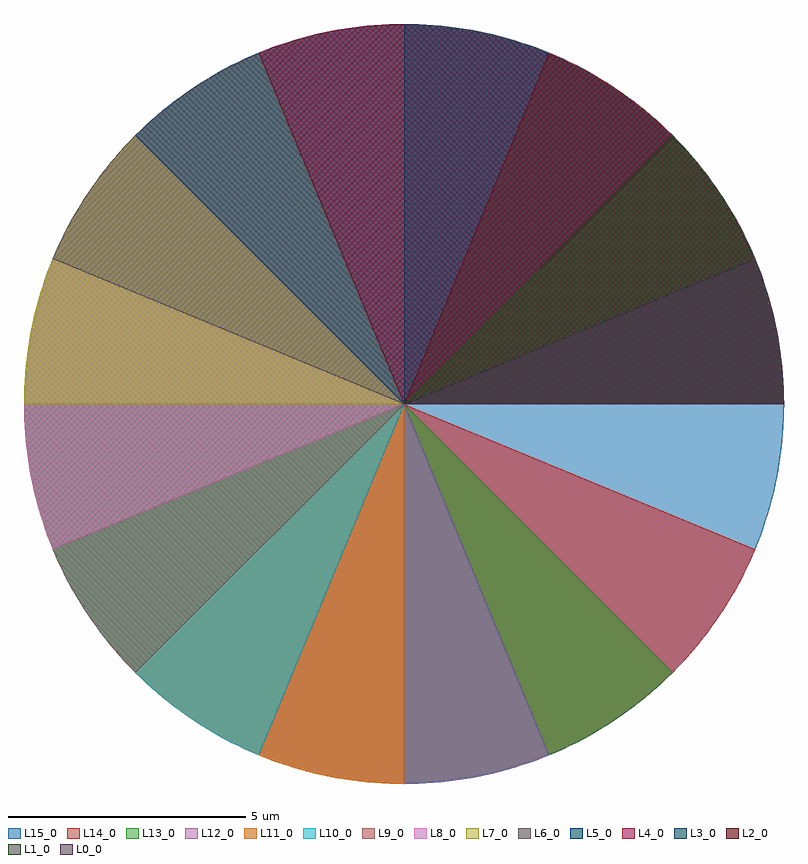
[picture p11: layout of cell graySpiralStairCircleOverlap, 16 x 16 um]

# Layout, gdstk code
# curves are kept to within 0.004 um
import gdstk
lib = gdstk.Library(unit=1e-6, precision=1e-09)
def P(c, l, *ps):  # polygons
    for p in ps: c.add(gdstk.Polygon(p, *l))
L0_0 = (0, 0)
L1_0 = (1, 0)
L2_0 = (2, 0)
L3_0 = (3, 0)
L4_0 = (4, 0)
L5_0 = (5, 0)
L6_0 = (6, 0)
L7_0 = (7, 0)
L8_0 = (8, 0)
L9_0 = (9, 0)
L10_0 = (10, 0)
L11_0 = (11, 0)
L12_0 = (12, 0)
L13_0 = (13, 0)
L14_0 = (14, 0)
L15_0 = (15, 0)

grayspiralstaircircleove = lib.new_cell('graySpiralStairCircleOverlap')
P(grayspiralstaircircleove, L0_0, [(0,0),(7.391,3.061),(7.558,2.621),(7.7,2.172),(7.779,1.868),(7.846,1.561),(7.925,1.096),(7.961,0.784),(7.986,0.471),(8,0)])
P(grayspiralstaircircleove, L1_0, [(0,0),(7.391,3.061),(7.558,2.621),(7.7,2.172),(7.779,1.868),(7.846,1.561),(7.925,1.096),(7.961,0.784),(7.986,0.471),(8,0)],
  [(0,0),(5.657,5.657),(5.98,5.314),(6.283,4.953),(6.472,4.702),(6.652,4.445),(6.902,4.045),(7.128,3.632),(7.265,3.349),(7.391,3.061)])
P(grayspiralstaircircleove, L2_0, [(0,0),(7.391,3.061),(7.558,2.621),(7.7,2.172),(7.779,1.868),(7.846,1.561),(7.925,1.096),(7.961,0.784),(7.986,0.471),(8,0)],
  [(0,0),(5.657,5.657),(5.98,5.314),(6.283,4.953),(6.472,4.702),(6.652,4.445),(6.902,4.045),(7.128,3.632),(7.265,3.349),(7.391,3.061)],
  [(0,0),(3.061,7.391),(3.349,7.265),(3.632,7.128),(4.045,6.902),(4.445,6.652),(4.702,6.472),(4.953,6.283),(5.314,5.98),(5.657,5.657)])
P(grayspiralstaircircleove, L3_0, [(0,0),(7.391,3.061),(7.558,2.621),(7.7,2.172),(7.779,1.868),(7.846,1.561),(7.925,1.096),(7.961,0.784),(7.986,0.471),(8,0)],
  [(0,0),(5.657,5.657),(5.98,5.314),(6.283,4.953),(6.472,4.702),(6.652,4.445),(6.902,4.045),(7.128,3.632),(7.265,3.349),(7.391,3.061)],
  [(0,0),(3.061,7.391),(3.349,7.265),(3.632,7.128),(4.045,6.902),(4.445,6.652),(4.702,6.472),(4.953,6.283),(5.314,5.98),(5.657,5.657)],
  [(0,0),(0,8),(0.471,7.986),(0.784,7.961),(1.096,7.925),(1.561,7.846),(1.868,7.779),(2.172,7.7),(2.621,7.558),(3.061,7.391)])
P(grayspiralstaircircleove, L4_0, [(0,0),(7.391,3.061),(7.558,2.621),(7.7,2.172),(7.779,1.868),(7.846,1.561),(7.925,1.096),(7.961,0.784),(7.986,0.471),(8,0)],
  [(0,0),(5.657,5.657),(5.98,5.314),(6.283,4.953),(6.472,4.702),(6.652,4.445),(6.902,4.045),(7.128,3.632),(7.265,3.349),(7.391,3.061)],
  [(0,0),(3.061,7.391),(3.349,7.265),(3.632,7.128),(4.045,6.902),(4.445,6.652),(4.702,6.472),(4.953,6.283),(5.314,5.98),(5.657,5.657)],
  [(0,0),(0,8),(0.471,7.986),(0.784,7.961),(1.096,7.925),(1.561,7.846),(1.868,7.779),(2.172,7.7),(2.621,7.558),(3.061,7.391)],
  [(0,0),(-3.061,7.391),(-2.621,7.558),(-2.172,7.7),(-1.868,7.779),(-1.561,7.846),(-1.096,7.925),(-0.784,7.961),(-0.471,7.986),(0,8)])
P(grayspiralstaircircleove, L5_0, [(0,0),(7.391,3.061),(7.558,2.621),(7.7,2.172),(7.779,1.868),(7.846,1.561),(7.925,1.096),(7.961,0.784),(7.986,0.471),(8,0)],
  [(0,0),(5.657,5.657),(5.98,5.314),(6.283,4.953),(6.472,4.702),(6.652,4.445),(6.902,4.045),(7.128,3.632),(7.265,3.349),(7.391,3.061)],
  [(0,0),(3.061,7.391),(3.349,7.265),(3.632,7.128),(4.045,6.902),(4.445,6.652),(4.702,6.472),(4.953,6.283),(5.314,5.98),(5.657,5.657)],
  [(0,0),(0,8),(0.471,7.986),(0.784,7.961),(1.096,7.925),(1.561,7.846),(1.868,7.779),(2.172,7.7),(2.621,7.558),(3.061,7.391)],
  [(0,0),(-3.061,7.391),(-2.621,7.558),(-2.172,7.7),(-1.868,7.779),(-1.561,7.846),(-1.096,7.925),(-0.784,7.961),(-0.471,7.986),(0,8)],
  [(0,0),(-5.657,5.657),(-5.314,5.98),(-4.953,6.283),(-4.702,6.472),(-4.445,6.652),(-4.045,6.902),(-3.632,7.128),(-3.349,7.265),(-3.061,7.391)])
P(grayspiralstaircircleove, L6_0, [(0,0),(7.391,3.061),(7.558,2.621),(7.7,2.172),(7.779,1.868),(7.846,1.561),(7.925,1.096),(7.961,0.784),(7.986,0.471),(8,0)],
  [(0,0),(5.657,5.657),(5.98,5.314),(6.283,4.953),(6.472,4.702),(6.652,4.445),(6.902,4.045),(7.128,3.632),(7.265,3.349),(7.391,3.061)],
  [(0,0),(3.061,7.391),(3.349,7.265),(3.632,7.128),(4.045,6.902),(4.445,6.652),(4.702,6.472),(4.953,6.283),(5.314,5.98),(5.657,5.657)],
  [(0,0),(0,8),(0.471,7.986),(0.784,7.961),(1.096,7.925),(1.561,7.846),(1.868,7.779),(2.172,7.7),(2.621,7.558),(3.061,7.391)],
  [(0,0),(-3.061,7.391),(-2.621,7.558),(-2.172,7.7),(-1.868,7.779),(-1.561,7.846),(-1.096,7.925),(-0.784,7.961),(-0.471,7.986),(0,8)],
  [(0,0),(-5.657,5.657),(-5.314,5.98),(-4.953,6.283),(-4.702,6.472),(-4.445,6.652),(-4.045,6.902),(-3.632,7.128),(-3.349,7.265),(-3.061,7.391)],
  [(0,0),(-7.391,3.061),(-7.265,3.349),(-7.128,3.632),(-6.902,4.045),(-6.652,4.445),(-6.472,4.702),(-6.283,4.953),(-5.98,5.314),(-5.657,5.657)])
P(grayspiralstaircircleove, L7_0, [(0,0),(7.391,3.061),(7.558,2.621),(7.7,2.172),(7.779,1.868),(7.846,1.561),(7.925,1.096),(7.961,0.784),(7.986,0.471),(8,0)],
  [(0,0),(5.657,5.657),(5.98,5.314),(6.283,4.953),(6.472,4.702),(6.652,4.445),(6.902,4.045),(7.128,3.632),(7.265,3.349),(7.391,3.061)],
  [(0,0),(3.061,7.391),(3.349,7.265),(3.632,7.128),(4.045,6.902),(4.445,6.652),(4.702,6.472),(4.953,6.283),(5.314,5.98),(5.657,5.657)],
  [(0,0),(0,8),(0.471,7.986),(0.784,7.961),(1.096,7.925),(1.561,7.846),(1.868,7.779),(2.172,7.7),(2.621,7.558),(3.061,7.391)],
  [(0,0),(-3.061,7.391),(-2.621,7.558),(-2.172,7.7),(-1.868,7.779),(-1.561,7.846),(-1.096,7.925),(-0.784,7.961),(-0.471,7.986),(0,8)],
  [(0,0),(-5.657,5.657),(-5.314,5.98),(-4.953,6.283),(-4.702,6.472),(-4.445,6.652),(-4.045,6.902),(-3.632,7.128),(-3.349,7.265),(-3.061,7.391)],
  [(0,0),(-7.391,3.061),(-7.265,3.349),(-7.128,3.632),(-6.902,4.045),(-6.652,4.445),(-6.472,4.702),(-6.283,4.953),(-5.98,5.314),(-5.657,5.657)],
  [(0,0),(-8,0),(-7.986,0.471),(-7.961,0.784),(-7.925,1.096),(-7.846,1.561),(-7.779,1.868),(-7.7,2.172),(-7.558,2.621),(-7.391,3.061)])
P(grayspiralstaircircleove, L8_0, [(0,0),(7.391,3.061),(7.558,2.621),(7.7,2.172),(7.779,1.868),(7.846,1.561),(7.925,1.096),(7.961,0.784),(7.986,0.471),(8,0)],
  [(0,0),(5.657,5.657),(5.98,5.314),(6.283,4.953),(6.472,4.702),(6.652,4.445),(6.902,4.045),(7.128,3.632),(7.265,3.349),(7.391,3.061)],
  [(0,0),(3.061,7.391),(3.349,7.265),(3.632,7.128),(4.045,6.902),(4.445,6.652),(4.702,6.472),(4.953,6.283),(5.314,5.98),(5.657,5.657)],
  [(0,0),(0,8),(0.471,7.986),(0.784,7.961),(1.096,7.925),(1.561,7.846),(1.868,7.779),(2.172,7.7),(2.621,7.558),(3.061,7.391)],
  [(0,0),(-3.061,7.391),(-2.621,7.558),(-2.172,7.7),(-1.868,7.779),(-1.561,7.846),(-1.096,7.925),(-0.784,7.961),(-0.471,7.986),(0,8)],
  [(0,0),(-5.657,5.657),(-5.314,5.98),(-4.953,6.283),(-4.702,6.472),(-4.445,6.652),(-4.045,6.902),(-3.632,7.128),(-3.349,7.265),(-3.061,7.391)],
  [(0,0),(-7.391,3.061),(-7.265,3.349),(-7.128,3.632),(-6.902,4.045),(-6.652,4.445),(-6.472,4.702),(-6.283,4.953),(-5.98,5.314),(-5.657,5.657)],
  [(0,0),(-8,0),(-7.986,0.471),(-7.961,0.784),(-7.925,1.096),(-7.846,1.561),(-7.779,1.868),(-7.7,2.172),(-7.558,2.621),(-7.391,3.061)],
  [(-7.391,-3.061),(-7.506,-2.769),(-7.656,-2.322),(-7.779,-1.868),(-7.846,-1.561),(-7.925,-1.096),(-7.961,-0.784),(-7.994,-0.314),(-8,0),(0,0)])
P(grayspiralstaircircleove, L9_0, [(0,0),(7.391,3.061),(7.558,2.621),(7.7,2.172),(7.779,1.868),(7.846,1.561),(7.925,1.096),(7.961,0.784),(7.986,0.471),(8,0)],
  [(0,0),(5.657,5.657),(5.98,5.314),(6.283,4.953),(6.472,4.702),(6.652,4.445),(6.902,4.045),(7.128,3.632),(7.265,3.349),(7.391,3.061)],
  [(0,0),(3.061,7.391),(3.349,7.265),(3.632,7.128),(4.045,6.902),(4.445,6.652),(4.702,6.472),(4.953,6.283),(5.314,5.98),(5.657,5.657)],
  [(0,0),(0,8),(0.471,7.986),(0.784,7.961),(1.096,7.925),(1.561,7.846),(1.868,7.779),(2.172,7.7),(2.621,7.558),(3.061,7.391)],
  [(0,0),(-3.061,7.391),(-2.621,7.558),(-2.172,7.7),(-1.868,7.779),(-1.561,7.846),(-1.096,7.925),(-0.784,7.961),(-0.471,7.986),(0,8)],
  [(0,0),(-5.657,5.657),(-5.314,5.98),(-4.953,6.283),(-4.702,6.472),(-4.445,6.652),(-4.045,6.902),(-3.632,7.128),(-3.349,7.265),(-3.061,7.391)],
  [(0,0),(-7.391,3.061),(-7.265,3.349),(-7.128,3.632),(-6.902,4.045),(-6.652,4.445),(-6.472,4.702),(-6.283,4.953),(-5.98,5.314),(-5.657,5.657)],
  [(0,0),(-8,0),(-7.986,0.471),(-7.961,0.784),(-7.925,1.096),(-7.846,1.561),(-7.779,1.868),(-7.7,2.172),(-7.558,2.621),(-7.391,3.061)],
  [(-7.391,-3.061),(-7.506,-2.769),(-7.656,-2.322),(-7.779,-1.868),(-7.846,-1.561),(-7.925,-1.096),(-7.961,-0.784),(-7.994,-0.314),(-8,0),(0,0)],
  [(-5.657,-5.657),(-5.875,-5.43),(-6.184,-5.075),(-6.379,-4.828),(-6.652,-4.445),(-6.902,-4.045),(-7.055,-3.771),(-7.198,-3.491),(-7.391,-3.061),(0,0)])
P(grayspiralstaircircleove, L10_0, [(0,0),(7.391,3.061),(7.558,2.621),(7.7,2.172),(7.779,1.868),(7.846,1.561),(7.925,1.096),(7.961,0.784),(7.986,0.471),(8,0)],
  [(0,0),(5.657,5.657),(5.98,5.314),(6.283,4.953),(6.472,4.702),(6.652,4.445),(6.902,4.045),(7.128,3.632),(7.265,3.349),(7.391,3.061)],
  [(0,0),(3.061,7.391),(3.349,7.265),(3.632,7.128),(4.045,6.902),(4.445,6.652),(4.702,6.472),(4.953,6.283),(5.314,5.98),(5.657,5.657)],
  [(0,0),(0,8),(0.471,7.986),(0.784,7.961),(1.096,7.925),(1.561,7.846),(1.868,7.779),(2.172,7.7),(2.621,7.558),(3.061,7.391)],
  [(0,0),(-3.061,7.391),(-2.621,7.558),(-2.172,7.7),(-1.868,7.779),(-1.561,7.846),(-1.096,7.925),(-0.784,7.961),(-0.471,7.986),(0,8)],
  [(0,0),(-5.657,5.657),(-5.314,5.98),(-4.953,6.283),(-4.702,6.472),(-4.445,6.652),(-4.045,6.902),(-3.632,7.128),(-3.349,7.265),(-3.061,7.391)],
  [(0,0),(-7.391,3.061),(-7.265,3.349),(-7.128,3.632),(-6.902,4.045),(-6.652,4.445),(-6.472,4.702),(-6.283,4.953),(-5.98,5.314),(-5.657,5.657)],
  [(0,0),(-8,0),(-7.986,0.471),(-7.961,0.784),(-7.925,1.096),(-7.846,1.561),(-7.779,1.868),(-7.7,2.172),(-7.558,2.621),(-7.391,3.061)],
  [(-7.391,-3.061),(-7.506,-2.769),(-7.656,-2.322),(-7.779,-1.868),(-7.846,-1.561),(-7.925,-1.096),(-7.961,-0.784),(-7.994,-0.314),(-8,0),(0,0)],
  [(-5.657,-5.657),(-5.875,-5.43),(-6.184,-5.075),(-6.379,-4.828),(-6.652,-4.445),(-6.902,-4.045),(-7.055,-3.771),(-7.198,-3.491),(-7.391,-3.061),(0,0)],
  [(-3.061,-7.391),(-3.491,-7.198),(-3.771,-7.055),(-4.045,-6.902),(-4.445,-6.652),(-4.828,-6.379),(-5.075,-6.184),(-5.43,-5.875),(-5.657,-5.657),(0,0)])
P(grayspiralstaircircleove, L11_0, [(0,0),(7.391,3.061),(7.558,2.621),(7.7,2.172),(7.779,1.868),(7.846,1.561),(7.925,1.096),(7.961,0.784),(7.986,0.471),(8,0)],
  [(0,0),(5.657,5.657),(5.98,5.314),(6.283,4.953),(6.472,4.702),(6.652,4.445),(6.902,4.045),(7.128,3.632),(7.265,3.349),(7.391,3.061)],
  [(0,0),(3.061,7.391),(3.349,7.265),(3.632,7.128),(4.045,6.902),(4.445,6.652),(4.702,6.472),(4.953,6.283),(5.314,5.98),(5.657,5.657)],
  [(0,0),(0,8),(0.471,7.986),(0.784,7.961),(1.096,7.925),(1.561,7.846),(1.868,7.779),(2.172,7.7),(2.621,7.558),(3.061,7.391)],
  [(0,0),(-3.061,7.391),(-2.621,7.558),(-2.172,7.7),(-1.868,7.779),(-1.561,7.846),(-1.096,7.925),(-0.784,7.961),(-0.471,7.986),(0,8)],
  [(0,0),(-5.657,5.657),(-5.314,5.98),(-4.953,6.283),(-4.702,6.472),(-4.445,6.652),(-4.045,6.902),(-3.632,7.128),(-3.349,7.265),(-3.061,7.391)],
  [(0,0),(-7.391,3.061),(-7.265,3.349),(-7.128,3.632),(-6.902,4.045),(-6.652,4.445),(-6.472,4.702),(-6.283,4.953),(-5.98,5.314),(-5.657,5.657)],
  [(0,0),(-8,0),(-7.986,0.471),(-7.961,0.784),(-7.925,1.096),(-7.846,1.561),(-7.779,1.868),(-7.7,2.172),(-7.558,2.621),(-7.391,3.061)],
  [(-7.391,-3.061),(-7.506,-2.769),(-7.656,-2.322),(-7.779,-1.868),(-7.846,-1.561),(-7.925,-1.096),(-7.961,-0.784),(-7.994,-0.314),(-8,0),(0,0)],
  [(-5.657,-5.657),(-5.875,-5.43),(-6.184,-5.075),(-6.379,-4.828),(-6.652,-4.445),(-6.902,-4.045),(-7.055,-3.771),(-7.198,-3.491),(-7.391,-3.061),(0,0)],
  [(-3.061,-7.391),(-3.491,-7.198),(-3.771,-7.055),(-4.045,-6.902),(-4.445,-6.652),(-4.828,-6.379),(-5.075,-6.184),(-5.43,-5.875),(-5.657,-5.657),(0,0)],
  [(0,-8),(-0.314,-7.994),(-0.784,-7.961),(-1.096,-7.925),(-1.561,-7.846),(-1.868,-7.779),(-2.322,-7.656),(-2.769,-7.506),(-3.061,-7.391),(0,0)])
P(grayspiralstaircircleove, L12_0, [(0,0),(7.391,3.061),(7.558,2.621),(7.7,2.172),(7.779,1.868),(7.846,1.561),(7.925,1.096),(7.961,0.784),(7.986,0.471),(8,0)],
  [(0,0),(5.657,5.657),(5.98,5.314),(6.283,4.953),(6.472,4.702),(6.652,4.445),(6.902,4.045),(7.128,3.632),(7.265,3.349),(7.391,3.061)],
  [(0,0),(3.061,7.391),(3.349,7.265),(3.632,7.128),(4.045,6.902),(4.445,6.652),(4.702,6.472),(4.953,6.283),(5.314,5.98),(5.657,5.657)],
  [(0,0),(0,8),(0.471,7.986),(0.784,7.961),(1.096,7.925),(1.561,7.846),(1.868,7.779),(2.172,7.7),(2.621,7.558),(3.061,7.391)],
  [(0,0),(-3.061,7.391),(-2.621,7.558),(-2.172,7.7),(-1.868,7.779),(-1.561,7.846),(-1.096,7.925),(-0.784,7.961),(-0.471,7.986),(0,8)],
  [(0,0),(-5.657,5.657),(-5.314,5.98),(-4.953,6.283),(-4.702,6.472),(-4.445,6.652),(-4.045,6.902),(-3.632,7.128),(-3.349,7.265),(-3.061,7.391)],
  [(0,0),(-7.391,3.061),(-7.265,3.349),(-7.128,3.632),(-6.902,4.045),(-6.652,4.445),(-6.472,4.702),(-6.283,4.953),(-5.98,5.314),(-5.657,5.657)],
  [(0,0),(-8,0),(-7.986,0.471),(-7.961,0.784),(-7.925,1.096),(-7.846,1.561),(-7.779,1.868),(-7.7,2.172),(-7.558,2.621),(-7.391,3.061)],
  [(-7.391,-3.061),(-7.506,-2.769),(-7.656,-2.322),(-7.779,-1.868),(-7.846,-1.561),(-7.925,-1.096),(-7.961,-0.784),(-7.994,-0.314),(-8,0),(0,0)],
  [(-5.657,-5.657),(-5.875,-5.43),(-6.184,-5.075),(-6.379,-4.828),(-6.652,-4.445),(-6.902,-4.045),(-7.055,-3.771),(-7.198,-3.491),(-7.391,-3.061),(0,0)],
  [(-3.061,-7.391),(-3.491,-7.198),(-3.771,-7.055),(-4.045,-6.902),(-4.445,-6.652),(-4.828,-6.379),(-5.075,-6.184),(-5.43,-5.875),(-5.657,-5.657),(0,0)],
  [(0,-8),(-0.314,-7.994),(-0.784,-7.961),(-1.096,-7.925),(-1.561,-7.846),(-1.868,-7.779),(-2.322,-7.656),(-2.769,-7.506),(-3.061,-7.391),(0,0)],
  [(0,-8),(0,0),(3.061,-7.391),(2.769,-7.506),(2.322,-7.656),(1.868,-7.779),(1.561,-7.846),(1.096,-7.925),(0.784,-7.961),(0.314,-7.994)])
P(grayspiralstaircircleove, L13_0, [(0,0),(7.391,3.061),(7.558,2.621),(7.7,2.172),(7.779,1.868),(7.846,1.561),(7.925,1.096),(7.961,0.784),(7.986,0.471),(8,0)],
  [(0,0),(5.657,5.657),(5.98,5.314),(6.283,4.953),(6.472,4.702),(6.652,4.445),(6.902,4.045),(7.128,3.632),(7.265,3.349),(7.391,3.061)],
  [(0,0),(3.061,7.391),(3.349,7.265),(3.632,7.128),(4.045,6.902),(4.445,6.652),(4.702,6.472),(4.953,6.283),(5.314,5.98),(5.657,5.657)],
  [(0,0),(0,8),(0.471,7.986),(0.784,7.961),(1.096,7.925),(1.561,7.846),(1.868,7.779),(2.172,7.7),(2.621,7.558),(3.061,7.391)],
  [(0,0),(-3.061,7.391),(-2.621,7.558),(-2.172,7.7),(-1.868,7.779),(-1.561,7.846),(-1.096,7.925),(-0.784,7.961),(-0.471,7.986),(0,8)],
  [(0,0),(-5.657,5.657),(-5.314,5.98),(-4.953,6.283),(-4.702,6.472),(-4.445,6.652),(-4.045,6.902),(-3.632,7.128),(-3.349,7.265),(-3.061,7.391)],
  [(0,0),(-7.391,3.061),(-7.265,3.349),(-7.128,3.632),(-6.902,4.045),(-6.652,4.445),(-6.472,4.702),(-6.283,4.953),(-5.98,5.314),(-5.657,5.657)],
  [(0,0),(-8,0),(-7.986,0.471),(-7.961,0.784),(-7.925,1.096),(-7.846,1.561),(-7.779,1.868),(-7.7,2.172),(-7.558,2.621),(-7.391,3.061)],
  [(-7.391,-3.061),(-7.506,-2.769),(-7.656,-2.322),(-7.779,-1.868),(-7.846,-1.561),(-7.925,-1.096),(-7.961,-0.784),(-7.994,-0.314),(-8,0),(0,0)],
  [(-5.657,-5.657),(-5.875,-5.43),(-6.184,-5.075),(-6.379,-4.828),(-6.652,-4.445),(-6.902,-4.045),(-7.055,-3.771),(-7.198,-3.491),(-7.391,-3.061),(0,0)],
  [(-3.061,-7.391),(-3.491,-7.198),(-3.771,-7.055),(-4.045,-6.902),(-4.445,-6.652),(-4.828,-6.379),(-5.075,-6.184),(-5.43,-5.875),(-5.657,-5.657),(0,0)],
  [(0,-8),(-0.314,-7.994),(-0.784,-7.961),(-1.096,-7.925),(-1.561,-7.846),(-1.868,-7.779),(-2.322,-7.656),(-2.769,-7.506),(-3.061,-7.391),(0,0)],
  [(0,-8),(0,0),(3.061,-7.391),(2.769,-7.506),(2.322,-7.656),(1.868,-7.779),(1.561,-7.846),(1.096,-7.925),(0.784,-7.961),(0.314,-7.994)],
  [(3.061,-7.391),(0,0),(5.657,-5.657),(5.43,-5.875),(5.075,-6.184),(4.828,-6.379),(4.445,-6.652),(4.045,-6.902),(3.771,-7.055),(3.491,-7.198)])
P(grayspiralstaircircleove, L14_0, [(0,0),(7.391,3.061),(7.558,2.621),(7.7,2.172),(7.779,1.868),(7.846,1.561),(7.925,1.096),(7.961,0.784),(7.986,0.471),(8,0)],
  [(0,0),(5.657,5.657),(5.98,5.314),(6.283,4.953),(6.472,4.702),(6.652,4.445),(6.902,4.045),(7.128,3.632),(7.265,3.349),(7.391,3.061)],
  [(0,0),(3.061,7.391),(3.349,7.265),(3.632,7.128),(4.045,6.902),(4.445,6.652),(4.702,6.472),(4.953,6.283),(5.314,5.98),(5.657,5.657)],
  [(0,0),(0,8),(0.471,7.986),(0.784,7.961),(1.096,7.925),(1.561,7.846),(1.868,7.779),(2.172,7.7),(2.621,7.558),(3.061,7.391)],
  [(0,0),(-3.061,7.391),(-2.621,7.558),(-2.172,7.7),(-1.868,7.779),(-1.561,7.846),(-1.096,7.925),(-0.784,7.961),(-0.471,7.986),(0,8)],
  [(0,0),(-5.657,5.657),(-5.314,5.98),(-4.953,6.283),(-4.702,6.472),(-4.445,6.652),(-4.045,6.902),(-3.632,7.128),(-3.349,7.265),(-3.061,7.391)],
  [(0,0),(-7.391,3.061),(-7.265,3.349),(-7.128,3.632),(-6.902,4.045),(-6.652,4.445),(-6.472,4.702),(-6.283,4.953),(-5.98,5.314),(-5.657,5.657)],
  [(0,0),(-8,0),(-7.986,0.471),(-7.961,0.784),(-7.925,1.096),(-7.846,1.561),(-7.779,1.868),(-7.7,2.172),(-7.558,2.621),(-7.391,3.061)],
  [(-7.391,-3.061),(-7.506,-2.769),(-7.656,-2.322),(-7.779,-1.868),(-7.846,-1.561),(-7.925,-1.096),(-7.961,-0.784),(-7.994,-0.314),(-8,0),(0,0)],
  [(-5.657,-5.657),(-5.875,-5.43),(-6.184,-5.075),(-6.379,-4.828),(-6.652,-4.445),(-6.902,-4.045),(-7.055,-3.771),(-7.198,-3.491),(-7.391,-3.061),(0,0)],
  [(-3.061,-7.391),(-3.491,-7.198),(-3.771,-7.055),(-4.045,-6.902),(-4.445,-6.652),(-4.828,-6.379),(-5.075,-6.184),(-5.43,-5.875),(-5.657,-5.657),(0,0)],
  [(0,-8),(-0.314,-7.994),(-0.784,-7.961),(-1.096,-7.925),(-1.561,-7.846),(-1.868,-7.779),(-2.322,-7.656),(-2.769,-7.506),(-3.061,-7.391),(0,0)],
  [(0,-8),(0,0),(3.061,-7.391),(2.769,-7.506),(2.322,-7.656),(1.868,-7.779),(1.561,-7.846),(1.096,-7.925),(0.784,-7.961),(0.314,-7.994)],
  [(3.061,-7.391),(0,0),(5.657,-5.657),(5.43,-5.875),(5.075,-6.184),(4.828,-6.379),(4.445,-6.652),(4.045,-6.902),(3.771,-7.055),(3.491,-7.198)],
  [(5.657,-5.657),(0,0),(7.391,-3.061),(7.198,-3.491),(7.055,-3.771),(6.902,-4.045),(6.652,-4.445),(6.379,-4.828),(6.184,-5.075),(5.875,-5.43)])
P(grayspiralstaircircleove, L15_0, [(0,0),(7.391,3.061),(7.558,2.621),(7.7,2.172),(7.779,1.868),(7.846,1.561),(7.925,1.096),(7.961,0.784),(7.986,0.471),(8,0)],
  [(0,0),(5.657,5.657),(5.98,5.314),(6.283,4.953),(6.472,4.702),(6.652,4.445),(6.902,4.045),(7.128,3.632),(7.265,3.349),(7.391,3.061)],
  [(0,0),(3.061,7.391),(3.349,7.265),(3.632,7.128),(4.045,6.902),(4.445,6.652),(4.702,6.472),(4.953,6.283),(5.314,5.98),(5.657,5.657)],
  [(0,0),(0,8),(0.471,7.986),(0.784,7.961),(1.096,7.925),(1.561,7.846),(1.868,7.779),(2.172,7.7),(2.621,7.558),(3.061,7.391)],
  [(0,0),(-3.061,7.391),(-2.621,7.558),(-2.172,7.7),(-1.868,7.779),(-1.561,7.846),(-1.096,7.925),(-0.784,7.961),(-0.471,7.986),(0,8)],
  [(0,0),(-5.657,5.657),(-5.314,5.98),(-4.953,6.283),(-4.702,6.472),(-4.445,6.652),(-4.045,6.902),(-3.632,7.128),(-3.349,7.265),(-3.061,7.391)],
  [(0,0),(-7.391,3.061),(-7.265,3.349),(-7.128,3.632),(-6.902,4.045),(-6.652,4.445),(-6.472,4.702),(-6.283,4.953),(-5.98,5.314),(-5.657,5.657)],
  [(0,0),(-8,0),(-7.986,0.471),(-7.961,0.784),(-7.925,1.096),(-7.846,1.561),(-7.779,1.868),(-7.7,2.172),(-7.558,2.621),(-7.391,3.061)],
  [(-7.391,-3.061),(-7.506,-2.769),(-7.656,-2.322),(-7.779,-1.868),(-7.846,-1.561),(-7.925,-1.096),(-7.961,-0.784),(-7.994,-0.314),(-8,0),(0,0)],
  [(-5.657,-5.657),(-5.875,-5.43),(-6.184,-5.075),(-6.379,-4.828),(-6.652,-4.445),(-6.902,-4.045),(-7.055,-3.771),(-7.198,-3.491),(-7.391,-3.061),(0,0)],
  [(-3.061,-7.391),(-3.491,-7.198),(-3.771,-7.055),(-4.045,-6.902),(-4.445,-6.652),(-4.828,-6.379),(-5.075,-6.184),(-5.43,-5.875),(-5.657,-5.657),(0,0)],
  [(0,-8),(-0.314,-7.994),(-0.784,-7.961),(-1.096,-7.925),(-1.561,-7.846),(-1.868,-7.779),(-2.322,-7.656),(-2.769,-7.506),(-3.061,-7.391),(0,0)],
  [(0,-8),(0,0),(3.061,-7.391),(2.769,-7.506),(2.322,-7.656),(1.868,-7.779),(1.561,-7.846),(1.096,-7.925),(0.784,-7.961),(0.314,-7.994)],
  [(3.061,-7.391),(0,0),(5.657,-5.657),(5.43,-5.875),(5.075,-6.184),(4.828,-6.379),(4.445,-6.652),(4.045,-6.902),(3.771,-7.055),(3.491,-7.198)],
  [(5.657,-5.657),(0,0),(7.391,-3.061),(7.198,-3.491),(7.055,-3.771),(6.902,-4.045),(6.652,-4.445),(6.379,-4.828),(6.184,-5.075),(5.875,-5.43)],
  [(7.391,-3.061),(0,0),(8,0),(7.994,-0.314),(7.961,-0.784),(7.925,-1.096),(7.846,-1.561),(7.779,-1.868),(7.656,-2.322),(7.506,-2.769)])

lib.write_gds('graySpiralStairCircleOverlap.gds')
